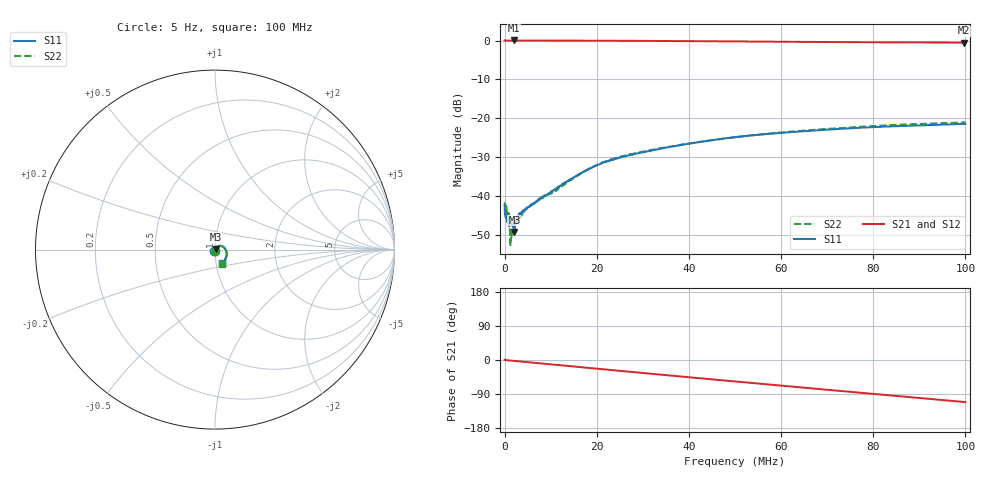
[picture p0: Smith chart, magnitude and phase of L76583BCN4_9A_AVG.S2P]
!Agilent Technologies,E5061B,MY49102235,A.02.00
!Date: Tue Jul 11 17:05:03 2023
!Data & Calibration Information:
!Freq	S11:SOLT2(ON)	S21:SOLT2(ON)	S12:SOLT2(ON)	S22:SOLT2(ON)
# Hz S RI R 50
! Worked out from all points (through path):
!   1600 points, 5 Hz to 100 MHz, reference 50 ohm
!   highest |S21| = 0.02 dB at 2.001 MHz (marker M1); lowest = -0.5 dB at 99.75 MHz (marker M2)
!   group delay of S21, straight-line fit = 3.08 ns
!   lowest |S11| = -49.2 dB at 2.126 MHz (marker M3), VSWR 1.01, Z = 50.3 + j0.201 ohm
!   |S11| at or under -10 dB: start of sweep to end of sweep
!   |S22| runs from -52.8 to -21.0 dB; largest |S21 - S12| = 0.0027
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5  -0.00525 -0.00563  1.002 0.008  1.001 0.0102  -0.00147 -0.00754
500317.7  0.00462 0.000716  1.001 -0.00903  1.002 -0.00874  0.00481 -0.000883
625395.8  0.00514 0.000826  1.002 -0.0121  1.002 -0.0114  0.00614 0.000462
1000630  0.00379 0.00156  1.001 -0.0189  1.001 -0.0183  0.00515 0.000636
1500943  0.00442 0.000991  1.001 -0.0286  1.001 -0.0283  0.00308 -0.000173
1688560  0.00396 0.00122  1 -0.0333  1.001 -0.0331  0.0037 0.00039
2001256  0.00319 0.00187  1.002 -0.0399  1.001 -0.0393  0.00335 0.00214
2126334  0.00285 0.002  1.001 -0.0426  0.9999 -0.0417  0.00402 0.00256
3126959  0.00478 0.00348  0.9991 -0.0623  0.9987 -0.0618  0.00366 0.00366
4377741  0.00482 0.00463  0.9973 -0.0871  0.9968 -0.0868  0.00426 0.00512
5128210  0.00497 0.00533  0.996 -0.1019  0.9955 -0.1014  0.00443 0.00551
7942469  0.00533 0.00764  0.9886 -0.1579  0.9883 -0.1577  0.00504 0.00817
1.075673e7  0.00633 0.0102  0.9776 -0.2134  0.9773 -0.2129  0.00535 0.0101
1.669794e7  0.0109 0.0166  0.9429 -0.3271  0.9427 -0.3267  0.0104 0.0167
2.013759e7  0.0158 0.0196  0.9169 -0.3903  0.9167 -0.3899  0.0167 0.0192
2.332708e7  0.0204 0.0212  0.8888 -0.4468  0.8885 -0.4465  0.022 0.0203
3.333334e7  0.0348 0.0203  0.7782 -0.6084  0.7781 -0.6079  0.0358 0.0196
5.003127e7  0.0573 0.00384  0.535 -0.8144  0.535 -0.8139  0.0573 0.00394
6.672921e7  0.0642 -0.0261  0.2474 -0.9272  0.2477 -0.9269  0.0662 -0.0255
8.33646e7  0.057 -0.0543  -0.0507 -0.9464  -0.0506 -0.9462  0.059 -0.0563
9.974984e7  0.0383 -0.0758  -0.3341 -0.8786  -0.3337 -0.8785  0.0399 -0.0794
1e8  0.038 -0.0761  -0.3382 -0.8771  -0.3381 -0.8769  0.0395 -0.0795
